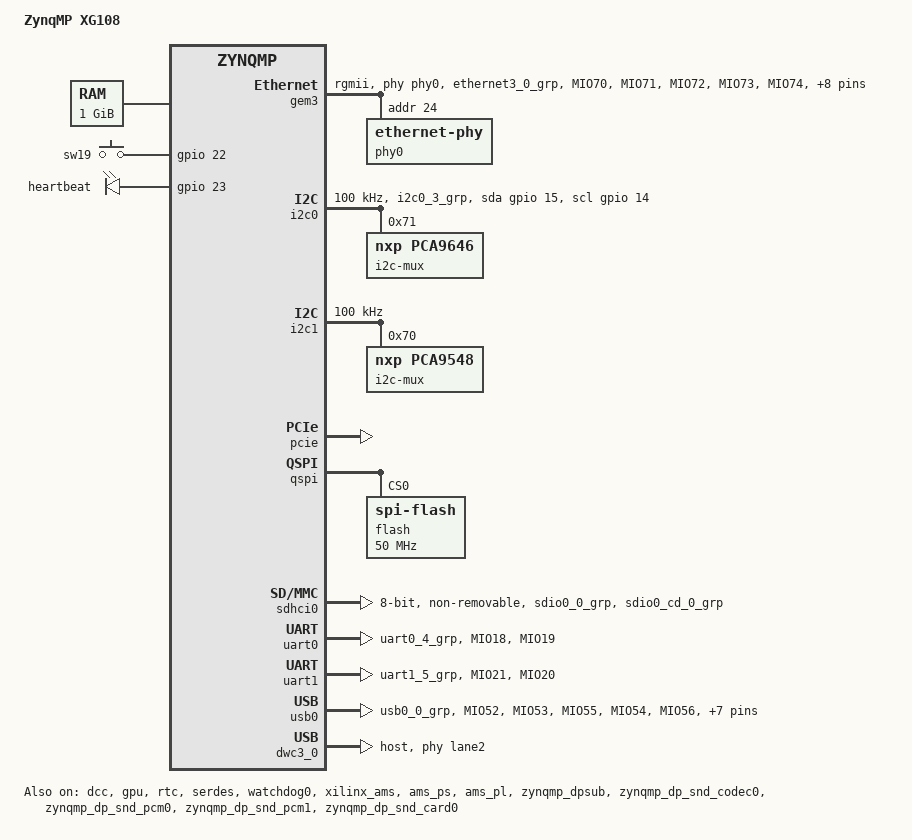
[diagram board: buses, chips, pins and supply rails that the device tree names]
// SPDX-License-Identifier: GPL-2.0+
/*
 * dts file for Xilinx ZynqMP ZCU102 RevA
 *
 * (C) Copyright 2015 - 2018, Xilinx, Inc.
 *
 * Michal Simek <michal.simek@xilinx.com>
 */

/dts-v1/;

#include "zynqmp.dtsi"
#include "zynqmp-clk-ccf.dtsi"
#include <dt-bindings/input/input.h>
#include <dt-bindings/gpio/gpio.h>
#include <dt-bindings/pinctrl/pinctrl-zynqmp.h>
#include <dt-bindings/phy/phy.h>

/ {
	model = "ZynqMP XG108";
	compatible = "xlnx,zynqmp-zcu102-revA", "xlnx,zynqmp-zcu102", "xlnx,zynqmp";

	aliases {
		ethernet0 = &gem3;
		gpio0 = &gpio;
		i2c0 = &i2c0;
		i2c1 = &i2c1;
		mmc0 = &sdhci1;
		rtc0 = &rtc;
		serial0 = &uart0;
		serial1 = &uart1;
		serial2 = &dcc;
		spi0 = &qspi;
		usb0 = &usb0;
	};

	chosen {
		bootargs = "earlycon";
		stdout-path = "serial0:115200n8";
	};

	memory@0 {
		device_type = "memory";
		reg = <0x0 0x0 0x0 0x40000000>;
	};

	gpio-keys {
		compatible = "gpio-keys";
		autorepeat;
		sw19 {
			label = "sw19";
			gpios = <&gpio 22 GPIO_ACTIVE_HIGH>;
			linux,code = <KEY_DOWN>;
			gpio-key,wakeup;
			autorepeat;
		};
	};

	leds {
		compatible = "gpio-leds";
		heartbeat_led {
			label = "heartbeat";
			gpios = <&gpio 23 GPIO_ACTIVE_HIGH>;
			linux,default-trigger = "heartbeat";
		};
	};
};

&dcc {
	status = "okay";
};

&fpd_dma_chan1 {
	status = "okay";
};

&fpd_dma_chan2 {
	status = "okay";
};

&fpd_dma_chan3 {
	status = "okay";
};

&fpd_dma_chan4 {
	status = "okay";
};

&fpd_dma_chan5 {
	status = "okay";
};

&fpd_dma_chan6 {
	status = "okay";
};

&fpd_dma_chan7 {
	status = "okay";
};

&fpd_dma_chan8 {
	status = "okay";
};

&gem3 {
	status = "okay";
	phy-handle = <&phy0>;
	phy-mode = "rgmii";
	pinctrl-names = "default";
	pinctrl-0 = <&pinctrl_gem3_default>;
	phy0: ethernet-phy@18 {
		reg = <0x18>;
	};
};

&gpio {
	status = "okay";
	pinctrl-names = "default";
	pinctrl-0 = <&pinctrl_gpio_default>;
};

&gpu {
	status = "okay";
};

&i2c0 {
	status = "okay";
	clock-frequency = <100000>;
	pinctrl-names = "default", "gpio";
	pinctrl-0 = <&pinctrl_i2c0_default>;
	pinctrl-1 = <&pinctrl_i2c0_gpio>;
	scl-gpios = <&gpio 14 GPIO_ACTIVE_HIGH>;
	sda-gpios = <&gpio 15 GPIO_ACTIVE_HIGH>;
	
	i2c-mux@71 { 
		compatible = "nxp,pca9646";
		#address-cells = <1>;
		#size-cells = <0>;
		reg = <0x71>;
		i2c@0 {
			#address-cells = <1>;
			#size-cells = <0>;
			reg = <0>;
		};
		i2c@1 {
			#address-cells = <1>;
			#size-cells = <0>;
			reg = <1>;
		};
		i2c@2 {
			#address-cells = <1>;
			#size-cells = <0>;
			reg = <2>;
		};
		i2c@3 {
			#address-cells = <1>;
			#size-cells = <0>;
			reg = <3>;
		};
	};
};

&i2c1 {
	status = "okay";
	clock-frequency = <100000>;
/*
	pinctrl-names = "default", "gpio";
	pinctrl-0 = <&pinctrl_i2c1_default>;
	pinctrl-1 = <&pinctrl_i2c1_gpio>;
	scl-gpios = <&gpio 16 GPIO_ACTIVE_HIGH>;
	sda-gpios = <&gpio 17 GPIO_ACTIVE_HIGH>;
*/
	/* PL i2c via PCA9548 */
	i2c-mux@70 { 
		compatible = "nxp,pca9548";
		#address-cells = <1>;
		#size-cells = <0>;
		reg = <0x70>;
	};
};

&pinctrl0 {
	status = "okay";
	pinctrl_i2c0_default: i2c0-default {
		mux {
			groups = "i2c0_3_grp";
			function = "i2c0";
		};

		conf {
			groups = "i2c0_3_grp";
			bias-pull-up;
			slew-rate = <SLEW_RATE_SLOW>;
			io-standard = <IO_STANDARD_LVCMOS18>;
		};
	};

	pinctrl_i2c0_gpio: i2c0-gpio {
		mux {
			groups = "gpio0_14_grp", "gpio0_15_grp";
			function = "gpio0";
		};

		conf {
			groups = "gpio0_14_grp", "gpio0_15_grp";
			slew-rate = <SLEW_RATE_SLOW>;
			io-standard = <IO_STANDARD_LVCMOS18>;
		};
	};

	pinctrl_i2c1_default: i2c1-default {
		mux {
			groups = "i2c1_4_grp";
			function = "i2c1";
		};

		conf {
			groups = "i2c1_4_grp";
			bias-pull-up;
			slew-rate = <SLEW_RATE_SLOW>;
			io-standard = <IO_STANDARD_LVCMOS18>;
		};
	};

	pinctrl_i2c1_gpio: i2c1-gpio {
		mux {
			groups = "gpio0_16_grp", "gpio0_17_grp";
			function = "gpio0";
		};

		conf {
			groups = "gpio0_16_grp", "gpio0_17_grp";
			slew-rate = <SLEW_RATE_SLOW>;
			io-standard = <IO_STANDARD_LVCMOS18>;
		};
	};

	pinctrl_uart0_default: uart0-default {
		mux {
			groups = "uart0_4_grp";
			function = "uart0";
		};

		conf {
			groups = "uart0_4_grp";
			slew-rate = <SLEW_RATE_SLOW>;
			io-standard = <IO_STANDARD_LVCMOS18>;
		};

		conf-rx {
			pins = "MIO18";
			bias-high-impedance;
		};

		conf-tx {
			pins = "MIO19";
			bias-disable;
		};
	};

	pinctrl_uart1_default: uart1-default {
		mux {
			groups = "uart1_5_grp";
			function = "uart1";
		};

		conf {
			groups = "uart1_5_grp";
			slew-rate = <SLEW_RATE_SLOW>;
			io-standard = <IO_STANDARD_LVCMOS18>;
		};

		conf-rx {
			pins = "MIO21";
			bias-high-impedance;
		};

		conf-tx {
			pins = "MIO20";
			bias-disable;
		};
	};

	pinctrl_usb0_default: usb0-default {
		mux {
			groups = "usb0_0_grp";
			function = "usb0";
		};

		conf {
			groups = "usb0_0_grp";
			slew-rate = <SLEW_RATE_SLOW>;
			io-standard = <IO_STANDARD_LVCMOS18>;
		};

		conf-rx {
			pins = "MIO52", "MIO53", "MIO55";
			bias-high-impedance;
		};

		conf-tx {
			pins = "MIO54", "MIO56", "MIO57", "MIO58", "MIO59",
			       "MIO60", "MIO61", "MIO62", "MIO63";
			bias-disable;
		};
	};

	pinctrl_gem3_default: gem3-default {
		mux {
			function = "ethernet3";
			groups = "ethernet3_0_grp";
		};

		conf {
			groups = "ethernet3_0_grp";
			slew-rate = <SLEW_RATE_SLOW>;
			io-standard = <IO_STANDARD_LVCMOS18>;
		};

		conf-rx {
			pins = "MIO70", "MIO71", "MIO72", "MIO73", "MIO74",
									"MIO75";
			bias-high-impedance;
			low-power-disable;
		};

		conf-tx {
			pins = "MIO64", "MIO65", "MIO66", "MIO67", "MIO68",
									"MIO69";
			bias-disable;
			low-power-enable;
		};

		mux-mdio {
			function = "mdio3";
			groups = "mdio3_0_grp";
		};

		conf-mdio {
			groups = "mdio3_0_grp";
			slew-rate = <SLEW_RATE_SLOW>;
			io-standard = <IO_STANDARD_LVCMOS18>;
			bias-disable;
		};
	};

	pinctrl_can1_default: can1-default {
		mux {
			function = "can1";
			groups = "can1_6_grp";
		};

		conf {
			groups = "can1_6_grp";
			slew-rate = <SLEW_RATE_SLOW>;
			io-standard = <IO_STANDARD_LVCMOS18>;
		};

		conf-rx {
			pins = "MIO25";
			bias-high-impedance;
		};

		conf-tx {
			pins = "MIO24";
			bias-disable;
		};
	};

	pinctrl_sdhci0_default: sdhci0-default {
		mux {
			groups = "sdio0_0_grp";
			function = "sdio0";
		};
 
		conf {
			groups = "sdio0_0_grp";
			slew-rate = <SLEW_RATE_SLOW>;
			io-standard = <IO_STANDARD_LVCMOS18>;
			bias-disable;
		};
 
		mux-cd {
			groups = "sdio0_cd_0_grp";
			function = "sdio0_cd";
		};
 
		conf-cd {
			groups = "sdio0_cd_0_grp";
			bias-high-impedance;
			bias-pull-up;
			slew-rate = <SLEW_RATE_SLOW>;
			io-standard = <IO_STANDARD_LVCMOS18>;
		};
	};

	pinctrl_sdhci1_default: sdhci1-default {
		mux {
			groups = "sdio1_0_grp";
			function = "sdio1";
		};

		conf {
			groups = "sdio1_0_grp";
			slew-rate = <SLEW_RATE_SLOW>;
			io-standard = <IO_STANDARD_LVCMOS18>;
			bias-disable;
		};

		mux-cd {
			groups = "sdio1_cd_0_grp";
			function = "sdio1_cd";
		};

		conf-cd {
			groups = "sdio1_cd_0_grp";
			bias-high-impedance;
			bias-pull-up;
			slew-rate = <SLEW_RATE_SLOW>;
			io-standard = <IO_STANDARD_LVCMOS18>;
		};

		mux-wp {
			groups = "sdio1_wp_0_grp";
			function = "sdio1_wp";
		};

		conf-wp {
			groups = "sdio1_wp_0_grp";
			bias-high-impedance;
			bias-pull-up;
			slew-rate = <SLEW_RATE_SLOW>;
			io-standard = <IO_STANDARD_LVCMOS18>;
		};
	};

	pinctrl_gpio_default: gpio-default {
		mux-sw {
			function = "gpio0";
			groups = "gpio0_22_grp", "gpio0_23_grp";
		};

		conf-sw {
			groups = "gpio0_22_grp", "gpio0_23_grp";
			slew-rate = <SLEW_RATE_SLOW>;
			io-standard = <IO_STANDARD_LVCMOS18>;
		};

		mux-msp {
			function = "gpio0";
			groups = "gpio0_13_grp", "gpio0_38_grp";
		};

		conf-msp {
			groups = "gpio0_13_grp", "gpio0_38_grp";
			slew-rate = <SLEW_RATE_SLOW>;
			io-standard = <IO_STANDARD_LVCMOS18>;
		};

		conf-pull-up {
			pins = "MIO22", "MIO23";
			bias-pull-up;
		};

		conf-pull-none {
			pins = "MIO13", "MIO38";
			bias-disable;
		};
	};
};

&pcie {
	status = "okay";
};

&qspi {
	status = "okay";
	flash@0 {
		compatible = "spi-flash", "jedec,spi-nor"; /* 32MB */
		#address-cells = <1>;
		#size-cells = <1>;
		reg = <0x0>;
		spi-tx-bus-width = <1>;
		spi-rx-bus-width = <4>; /* FIXME also DUAL configuration possible */
		spi-max-frequency = <50000000>; /* Based on DC1 spec */
	};
};

&rtc {
	status = "okay";
};

/* SD1 with level shifter */
&sdhci0 {
	status = "okay";
	pinctrl-names = "default";
	pinctrl-0 = <&pinctrl_sdhci0_default>;
	xlnx,mio_bank = <0>;
	disable-wp;
	non-removable;
	bus-width = <8>;
};

&serdes {
	status = "okay";
};

&uart0 {
	status = "okay";
	pinctrl-names = "default";
	pinctrl-0 = <&pinctrl_uart0_default>;
};

&uart1 {
	status = "okay";
	pinctrl-names = "default";
	pinctrl-0 = <&pinctrl_uart1_default>;
};

/* ULPI SMSC USB3320 */
&usb0 {
	status = "okay";
	pinctrl-names = "default";
	pinctrl-0 = <&pinctrl_usb0_default>;
};

&dwc3_0 {
	status = "okay";
	dr_mode = "host";
	snps,usb3_lpm_capable;
	phy-names = "usb3-phy";
	phys = <&lane2 PHY_TYPE_USB3 0 2 26000000>;
	maximum-speed = "super-speed";
};

&watchdog0 {
	status = "okay";
};

&xilinx_ams {
	status = "okay";
};

&ams_ps {
	status = "okay";
};

&ams_pl {
	status = "okay";
};

&zynqmp_dpsub {
	status = "okay";
	phy-names = "dp-phy0";
	phys = <&lane1 PHY_TYPE_DP 0 3 27000000>;
};

&zynqmp_dp_snd_codec0 {
	status = "okay";
};

&zynqmp_dp_snd_pcm0 {
	status = "okay";
};

&zynqmp_dp_snd_pcm1 {
	status = "okay";
};

&zynqmp_dp_snd_card0 {
	status = "okay";
};

&xlnx_dpdma {
	status = "okay";
};
